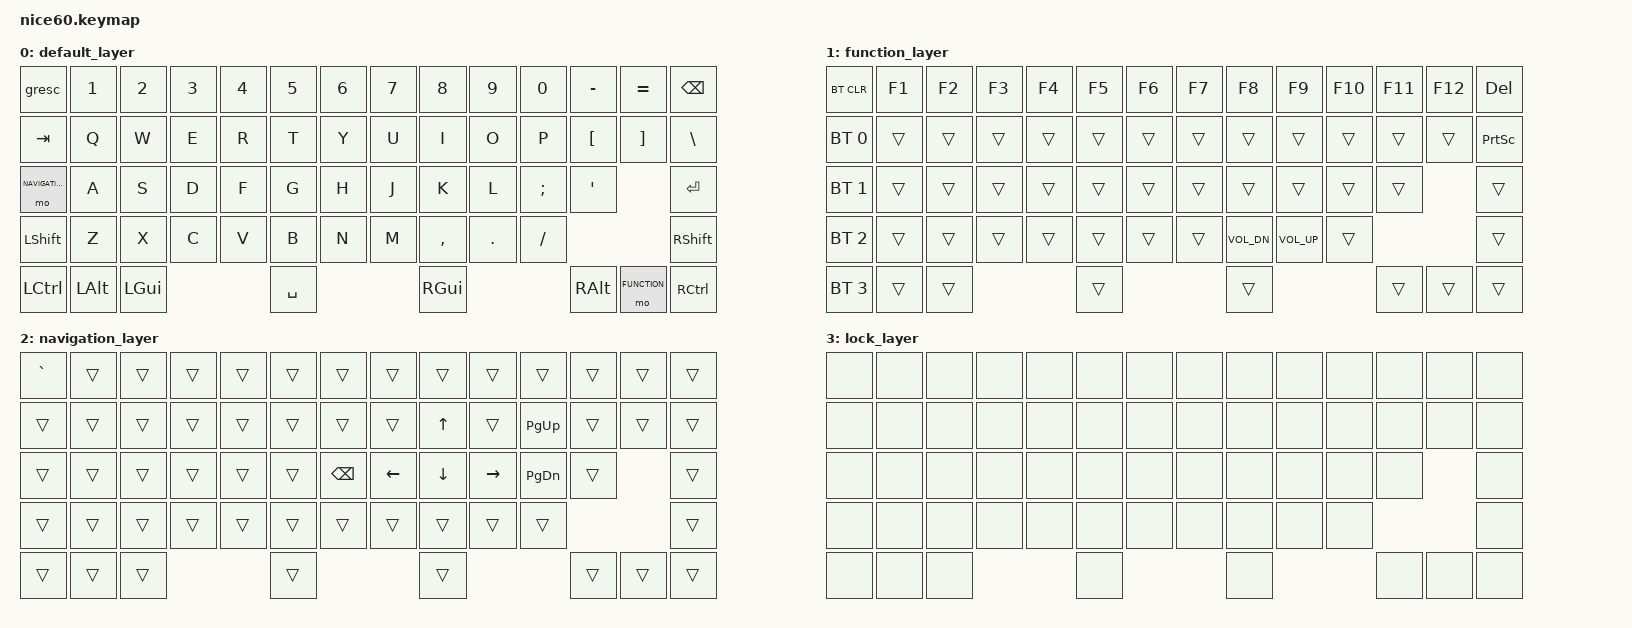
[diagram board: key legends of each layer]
/*
 * Copyright (c) 2021 Nick Winans
 *
 * SPDX-License-Identifier: MIT
 */

#include <behaviors.dtsi>
#include <dt-bindings/zmk/keys.h>
#include <dt-bindings/zmk/rgb.h>
#include <dt-bindings/zmk/bt.h>
#include <dt-bindings/zmk/outputs.h>
#include <dt-bindings/zmk/reset.h>
#include <dt-bindings/zmk/ext_power.h>

#define DEFAULT 0
#define FUNCTION 1
#define NAVIGATION 2
#define LOCK 3

/ {
	combos {
        compatible = "zmk,combos";

		// Lock keyboard on FUNC+RCTRL+Q
        combo_lock {
            timeout-ms = <50>;
            key-positions = <59 60 15>;
            bindings = <&tog LOCK>;
        };
    };

	keymap {
		compatible = "zmk,keymap";

		default_layer {
// ------------------------------------------------------------------------------------------
// | ESC |  1  |  2  |  3  |  4  |  5  |  6  |  7  |  8  |  9  |  0  |  -  |  =  |   BKSP   |   0 - 13
// | TAB  |  Q  |  W  |  E  |  R  |  T  |  Y  |  U  |  I  |  O  |  P  |  [  |  ]  |   "|"   |  14 - 27
// | MO(2) |  A  |  S  |  D  |  F  |  G  |  H  |  J  |  K  |  L  |  ;  |  '  |     ENTER    |  28 - 40
// |  SHIFT  |  Z  |  X  |  C  |  V  |  B  |  N  |  M  |  ,  |  .  |  /  |      SHIFT       |  41 - 52
// |  CTL  |  OPT  |  CMD  |             SPACE            |  CMD  |  OPT  |  MO(1)  |  CTL  |  53 - 60
// ------------------------------------------------------------------------------------------
			bindings = <
	&gresc          &kp N1    &kp N2    &kp N3  &kp N4  &kp N5     &kp N6  &kp N7  &kp N8     &kp N9    &kp N0    &kp MINUS   &kp EQUAL     &kp BSPC
	&kp TAB         &kp Q     &kp W     &kp E   &kp R   &kp T      &kp Y   &kp U   &kp I      &kp O     &kp P     &kp LBKT    &kp RBKT      &kp BSLH
	&mo NAVIGATION  &kp A     &kp S     &kp D   &kp F   &kp G      &kp H   &kp J   &kp K      &kp L     &kp SEMI  &kp SQT                   &kp RET
	&kp LSHFT       &kp Z     &kp X     &kp C   &kp V   &kp B      &kp N   &kp M   &kp COMMA  &kp DOT   &kp FSLH                            &kp RSHFT
	&kp LCTRL       &kp LALT  &kp LGUI                  &kp SPACE                  &kp RGUI                       &kp RALT    &mo FUNCTION  &kp RCTRL
			>;
		};

		function_layer {
			bindings = <
	&bt BT_CLR    &kp F1  &kp F2  &kp F3  &kp F4  &kp F5  &kp F6  &kp F7  &kp F8        &kp F9        &kp F10  &kp F11  &kp F12  &kp DEL
	&bt BT_SEL 0  &trans  &trans  &trans  &trans  &trans  &trans  &trans  &trans        &trans        &trans   &trans   &trans   &kp PSCRN
	&bt BT_SEL 1  &trans  &trans  &trans  &trans  &trans  &trans  &trans  &trans        &trans        &trans   &trans            &trans
	&bt BT_SEL 2  &trans  &trans  &trans  &trans  &trans  &trans  &trans  &kp C_VOL_DN  &kp C_VOL_UP  &trans                     &trans
	&bt BT_SEL 3  &trans  &trans                  &trans          &trans  &trans        &trans                                   &trans
			>;
		};

		navigation_layer {
			bindings = <
	&kp GRAVE  &trans   &trans  &trans  &trans  &trans  &trans    &trans    &trans    &trans     &trans     &trans  &trans  &trans
	&trans     &trans   &trans  &trans  &trans  &trans  &trans    &trans    &kp UP    &trans     &kp PG_UP  &trans  &trans  &trans
	&trans     &trans   &trans  &trans  &trans  &trans  &kp BSPC  &kp LEFT  &kp DOWN  &kp RIGHT  &kp PG_DN  &trans          &trans
	&trans     &trans   &trans  &trans  &trans  &trans  &trans    &trans    &trans    &trans     &trans                     &trans
	&trans     &trans   &trans                  &trans                      &trans    &trans     &trans                     &trans
			>;
		};

		lock_layer {
			bindings = <
	&none  &none   &none  &none  &none  &none  &none  &none  &none  &none  &none  &none  &none  &none
	&none  &none   &none  &none  &none  &none  &none  &none  &none  &none  &none  &none  &none  &none
	&none  &none   &none  &none  &none  &none  &none  &none  &none  &none  &none  &none         &none
	&none  &none   &none  &none  &none  &none  &none  &none  &none  &none  &none                &none
	&none  &none   &none                &none                &none  &none  &none                &none
			>;
		};

	};
};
